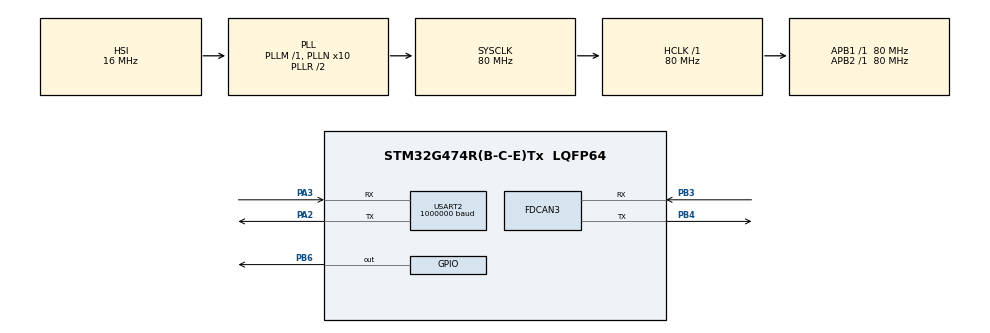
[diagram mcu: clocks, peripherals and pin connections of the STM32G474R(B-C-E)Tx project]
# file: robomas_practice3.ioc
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FDCAN3.CalculateBaudRateNominal=1000000
FDCAN3.CalculateTimeBitNominal=1000
FDCAN3.CalculateTimeQuantumNominal=50.0
FDCAN3.NominalPrescaler=4
FDCAN3.NominalTimeSeg1=15
FDCAN3.NominalTimeSeg2=4
FDCAN3.StdFiltersNbr=1
Mcu.Family=STM32G4
Mcu.Name=STM32G474R(B-C-E)Tx
Mcu.Package=LQFP64
NVIC.FDCAN3_IT0_IRQn=true\:0\:0\:false\:false\:true\:true\:true\:true
NVIC.FDCAN3_IT1_IRQn=true\:0\:0\:false\:false\:true\:true\:true\:true
NVIC.PriorityGroup=NVIC_PRIORITYGROUP_4
NVIC.TIM6_DAC_IRQn=true\:0\:0\:false\:false\:true\:true\:true\:true
NVIC.USART2_IRQn=true\:0\:0\:false\:false\:true\:true\:true\:true
PA2.Mode=Asynchronous
PA2.Signal=USART2_TX
PA3.Mode=Asynchronous
PA3.Signal=USART2_RX
PB3.Mode=FDCAN_Activate
PB3.Signal=FDCAN3_RX
PB4.Mode=FDCAN_Activate
PB4.Signal=FDCAN3_TX
PB6.Signal=GPIO_Output
ProjectManager.HeapSize=0x200
ProjectManager.StackSize=0x400
ProjectManager.TargetToolchain=STM32CubeIDE
RCC.ADC12Freq_Value=80000000
RCC.ADC345Freq_Value=80000000
RCC.AHBFreq_Value=80000000
RCC.APB1Freq_Value=80000000
RCC.APB1TimFreq_Value=80000000
RCC.APB2Freq_Value=80000000
RCC.APB2TimFreq_Value=80000000
RCC.CortexFreq_Value=80000000
RCC.EXTERNAL_CLOCK_VALUE=12288000
RCC.HCLKFreq_Value=80000000
RCC.HSE_VALUE=8000000
RCC.HSI48_VALUE=48000000
RCC.HSI_VALUE=16000000
RCC.LSE_VALUE=32768
RCC.PLLN=10
RCC.SYSCLKFreq_VALUE=80000000
RCC.SYSCLKSource=RCC_SYSCLKSOURCE_PLLCLK
RCC.USBFreq_Value=80000000
RCC.VCOOutputFreq_Value=160000000
TIM6.PeriodNoDither=7999
TIM6.Prescaler=9
USART2.BaudRate=1000000
USART2.VirtualMode-Asynchronous=VM_ASYNC
VP_SYS_VS_DBSignals.Mode=DisableDeadBatterySignals
VP_TIM6_VS_ClockSourceINT.Mode=Enable_Timer
board=custom

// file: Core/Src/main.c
/* USER CODE BEGIN Header */
/**
  ******************************************************************************
  * @file           : main.c
  * @brief          : Main program body
  ******************************************************************************
  * @attention
  *
  * Copyright (c) 2024 STMicroelectronics.
  * All rights reserved.
  *
  * This software is licensed under terms that can be found in the LICENSE file
  * in the root directory of this software component.
  * If no LICENSE file comes with this software, it is provided AS-IS.
  *
  ******************************************************************************
  */
/* USER CODE END Header */
#include "main.h"

/* USER CODE BEGIN Includes */
#include <stdio.h>
/* USER CODE END Includes */

/* USER CODE BEGIN PD */

#define motor_ID 1

/* USER CODE END PD */

FDCAN_HandleTypeDef hfdcan3;

TIM_HandleTypeDef htim6;

UART_HandleTypeDef huart2;

/* USER CODE BEGIN PV */
FDCAN_TxHeaderTypeDef TxHeader;
FDCAN_RxHeaderTypeDef RxHeader;
FDCAN_FilterTypeDef sFilterConfig;

uint8_t TxData[8] = {};
uint8_t RxData[8] = {};
uint32_t TxMailbox;

typedef struct{
	uint16_t CANID;
	uint8_t motorID;
	//int8_t rotDir;//rotation direction
	int16_t trgVel;//target angle velocity [RPM]
	volatile int16_t actVel;//actual angle velocity [RPM]
	volatile int16_t p_actVel;
	volatile int16_t cu;//output
	//double angle;//[rad]
	//double reductionRatio; //@param reduction ratio (1:param)
	int16_t actCurrent;//actual torque current
}motor;

motor robomas[] = {{0x203, 3, -64*36, 0, 0, 0, 0}};

//volatile uint16_t angle = 0;
//volatile int16_t current = 0;
//volatile int16_t rpm = 0;
//volatile int16_t cu =0;
//volatile float ac_l =0 , purpose = 64, p_rpm = 0, d = 0, p_x = 1, sa_angle = 0, p_angle = 0;
volatile float k_p = 7, k_i = 0.5, k_d = 0.0001, ind = 0;

/* USER CODE END PV */

void SystemClock_Config(void);
static void MX_GPIO_Init(void);
static void MX_USART2_UART_Init(void);
static void MX_FDCAN3_Init(void);
static void MX_TIM6_Init(void);

/* USER CODE BEGIN 0 */
void HAL_TIM_PeriodElapsedCallback(TIM_HandleTypeDef *htim){
	float hensa = robomas[0].trgVel - robomas[0].actVel;
	//printf("hensa:%d, act:%d", (int)hensa, (int)robomas[0].actVel);
	if (hensa >= 1000) hensa = 1000;
	else if (hensa <= -1000) hensa = -1000;

	float d = (robomas[0].actVel - robomas[0].p_actVel) / 0.001;
	ind += hensa*0.1;
	if (d >= 30000) d = 30000;
	else if (d <= -30000) d = -30000;
	if (ind >= 10000) ind = 10000;
	else if (ind <= -10000) ind = -10000;

	float t = k_p*hensa;
	if (t>=10000) t = 10000;
	else if (t<=-10000) t = -10000;
	robomas[0].cu = (int16_t)(t+k_i*ind+k_d*d);
	if (robomas[0].cu <= -10000) robomas[0].cu = -10000;
	else if (robomas[0].cu >= 10000) robomas[0].cu = 10000;

	TxData[4] = (robomas[0].cu) >> 8;
	TxData[5] = (uint8_t)((robomas[0].cu) & 0xff);
	if (HAL_FDCAN_AddMessageToTxFifoQ(&hfdcan3, &TxHeader, TxData) != HAL_OK){
		Error_Handler();
	}
	robomas[0].p_actVel = robomas[0].actVel;
	//printf("%d\r\n", robomas[0].cu);
	//printf("hensa:%d,cu:%d,rpm:%d,ind:%d,d:%d\r\n", (int)hensa, robomas[0].cu, robomas[0].actVel, (int)ind, (int)d);

}

void HAL_FDCAN_RxFifo0Callback(FDCAN_HandleTypeDef *hfdcan, uint32_t RxFifo0ITs){
	if ((RxFifo0ITs & FDCAN_IT_RX_FIFO0_NEW_MESSAGE) != RESET) {

	        /* Retrieve Rx messages from RX FIFO0 */
		if (HAL_FDCAN_GetRxMessage(&hfdcan3, FDCAN_RX_FIFO0, &RxHeader, RxData) != HAL_OK) {
			printf("fdcan_getrxmessage is error\r\n");
			Error_Handler();
		}

		if (RxHeader.Identifier == (robomas[0].CANID)) {
			robomas[0].actVel = (int16_t)((RxData[2] << 8) | RxData[3]);
			//printf("%d\r\n", robomas[0].actVel);
		}
	}

}

int _write(int file, char *ptr, int len)
{
    HAL_UART_Transmit(&huart2,(uint8_t *)ptr,len,10);
    return len;
}
/* USER CODE END 0 */

int main(void)
{

  /* USER CODE BEGIN 1 */
	setbuf(stdout, NULL);
  /* USER CODE END 1 */

  /* MCU Configuration--------------------------------------------------------*/

  /* Reset of all peripherals, Initializes the Flash interface and the Systick. */
  HAL_Init();

  /* Configure the system clock */
  SystemClock_Config();

  /* Initialize all configured peripherals */
  MX_GPIO_Init();
  MX_USART2_UART_Init();
  MX_FDCAN3_Init();
  MX_TIM6_Init();
  /* USER CODE BEGIN 2 */
  printf("start");
  TxHeader.Identifier = 0x000;
  TxHeader.IdType = FDCAN_STANDARD_ID;
  TxHeader.TxFrameType = FDCAN_DATA_FRAME;
  TxHeader.DataLength = FDCAN_DLC_BYTES_8;
  TxHeader.ErrorStateIndicator = FDCAN_ESI_ACTIVE;
  TxHeader.BitRateSwitch = FDCAN_BRS_OFF;
  TxHeader.FDFormat = FDCAN_CLASSIC_CAN;
  TxHeader.TxEventFifoControl = FDCAN_NO_TX_EVENTS;
  TxHeader.MessageMarker = 0;

  FDCAN_FilterTypeDef sFilterConfig;
  sFilterConfig.IdType = FDCAN_STANDARD_ID;
  sFilterConfig.FilterIndex = 0;
  sFilterConfig.FilterType = FDCAN_FILTER_RANGE;
  sFilterConfig.FilterConfig = FDCAN_FILTER_TO_RXFIFO0;
  sFilterConfig.FilterID1 = 0x200;
  sFilterConfig.FilterID2 = 0x209;

  if (HAL_FDCAN_ConfigFilter(&hfdcan3, &sFilterConfig) != HAL_OK) {
	  printf("fdcan_configfilter is error\r\n");
      Error_Handler();
  }

  if (HAL_FDCAN_ConfigGlobalFilter(&hfdcan3, FDCAN_REJECT, FDCAN_REJECT, FDCAN_FILTER_REMOTE, FDCAN_FILTER_REMOTE) != HAL_OK) {
	  printf("fdcan_configglobalfilter is error\r\n");
      Error_Handler();
  }

  if (HAL_FDCAN_Start(&hfdcan3) != HAL_OK) {
	  printf("fdcan_start is error\r\n");
      Error_Handler();
  }

  if (HAL_FDCAN_ActivateNotification(&hfdcan3, FDCAN_IT_RX_FIFO0_NEW_MESSAGE, 0) != HAL_OK){
	  printf("fdcan_activatenotification is error\r\n");
	  Error_Handler();
  }

  printf("can_start");

  HAL_TIM_Base_Start_IT(&htim6);
  /* USER CODE END 2 */

  /* Infinite loop */
  /* USER CODE BEGIN WHILE */
   TxHeader.Identifier = 0x200;

  while (1)
  {
	  //if (cu_f >= 2000) cu = 2000;
	  //else if (cu_f <= -2000) cu = -2000;
	  //else cu = cu_f;

		printf("rpm:%d, cu:%d, 0:%d, 10000:%d\r\n", robomas[0].actVel, robomas[0].cu, 0, 10000);

	  //HAL_Delay(1);
    /* USER CODE END WHILE */

  }
}

void SystemClock_Config(void)
{
  RCC_OscInitTypeDef RCC_OscInitStruct = {0};
  RCC_ClkInitTypeDef RCC_ClkInitStruct = {0};

  /** Configure the main internal regulator output voltage
  */
  HAL_PWREx_ControlVoltageScaling(PWR_REGULATOR_VOLTAGE_SCALE1);

  /** Initializes the RCC Oscillators according to the specified parameters
  * in the RCC_OscInitTypeDef structure.
  */
  RCC_OscInitStruct.OscillatorType = RCC_OSCILLATORTYPE_HSI;
  RCC_OscInitStruct.HSIState = RCC_HSI_ON;
  RCC_OscInitStruct.HSICalibrationValue = RCC_HSICALIBRATION_DEFAULT;
  RCC_OscInitStruct.PLL.PLLState = RCC_PLL_ON;
  RCC_OscInitStruct.PLL.PLLSource = RCC_PLLSOURCE_HSI;
  RCC_OscInitStruct.PLL.PLLM = RCC_PLLM_DIV1;
  RCC_OscInitStruct.PLL.PLLN = 10;
  RCC_OscInitStruct.PLL.PLLP = RCC_PLLP_DIV2;
  RCC_OscInitStruct.PLL.PLLQ = RCC_PLLQ_DIV2;
  RCC_OscInitStruct.PLL.PLLR = RCC_PLLR_DIV2;
  if (HAL_RCC_OscConfig(&RCC_OscInitStruct) != HAL_OK)
  {
    Error_Handler();
  }

  /** Initializes the CPU, AHB and APB buses clocks
  */
  RCC_ClkInitStruct.ClockType = RCC_CLOCKTYPE_HCLK|RCC_CLOCKTYPE_SYSCLK
                              |RCC_CLOCKTYPE_PCLK1|RCC_CLOCKTYPE_PCLK2;
  RCC_ClkInitStruct.SYSCLKSource = RCC_SYSCLKSOURCE_PLLCLK;
  RCC_ClkInitStruct.AHBCLKDivider = RCC_SYSCLK_DIV1;
  RCC_ClkInitStruct.APB1CLKDivider = RCC_HCLK_DIV1;
  RCC_ClkInitStruct.APB2CLKDivider = RCC_HCLK_DIV1;

  if (HAL_RCC_ClockConfig(&RCC_ClkInitStruct, FLASH_LATENCY_2) != HAL_OK)
  {
    Error_Handler();
  }
}

static void MX_FDCAN3_Init(void)
{

  hfdcan3.Instance = FDCAN3;
  hfdcan3.Init.ClockDivider = FDCAN_CLOCK_DIV1;
  hfdcan3.Init.FrameFormat = FDCAN_FRAME_CLASSIC;
  hfdcan3.Init.Mode = FDCAN_MODE_NORMAL;
  hfdcan3.Init.AutoRetransmission = DISABLE;
  hfdcan3.Init.TransmitPause = DISABLE;
  hfdcan3.Init.ProtocolException = DISABLE;
  hfdcan3.Init.NominalPrescaler = 4;
  hfdcan3.Init.NominalSyncJumpWidth = 1;
  hfdcan3.Init.NominalTimeSeg1 = 15;
  hfdcan3.Init.NominalTimeSeg2 = 4;
  hfdcan3.Init.DataPrescaler = 1;
  hfdcan3.Init.DataSyncJumpWidth = 1;
  hfdcan3.Init.DataTimeSeg1 = 1;
  hfdcan3.Init.DataTimeSeg2 = 1;
  hfdcan3.Init.StdFiltersNbr = 1;
  hfdcan3.Init.ExtFiltersNbr = 0;
  hfdcan3.Init.TxFifoQueueMode = FDCAN_TX_FIFO_OPERATION;
  if (HAL_FDCAN_Init(&hfdcan3) != HAL_OK)
  {
    Error_Handler();
  }

}

static void MX_TIM6_Init(void)
{

  TIM_MasterConfigTypeDef sMasterConfig = {0};

  htim6.Instance = TIM6;
  htim6.Init.Prescaler = 9;
  htim6.Init.CounterMode = TIM_COUNTERMODE_UP;
  htim6.Init.Period = 7999;
  htim6.Init.AutoReloadPreload = TIM_AUTORELOAD_PRELOAD_DISABLE;
  if (HAL_TIM_Base_Init(&htim6) != HAL_OK)
  {
    Error_Handler();
  }
  sMasterConfig.MasterOutputTrigger = TIM_TRGO_RESET;
  sMasterConfig.MasterSlaveMode = TIM_MASTERSLAVEMODE_DISABLE;
  if (HAL_TIMEx_MasterConfigSynchronization(&htim6, &sMasterConfig) != HAL_OK)
  {
    Error_Handler();
  }

}

static void MX_USART2_UART_Init(void)
{

  huart2.Instance = USART2;
  huart2.Init.BaudRate = 1000000;
  huart2.Init.WordLength = UART_WORDLENGTH_8B;
  huart2.Init.StopBits = UART_STOPBITS_1;
  huart2.Init.Parity = UART_PARITY_NONE;
  huart2.Init.Mode = UART_MODE_TX_RX;
  huart2.Init.HwFlowCtl = UART_HWCONTROL_NONE;
  huart2.Init.OverSampling = UART_OVERSAMPLING_16;
  huart2.Init.OneBitSampling = UART_ONE_BIT_SAMPLE_DISABLE;
  huart2.Init.ClockPrescaler = UART_PRESCALER_DIV1;
  huart2.AdvancedInit.AdvFeatureInit = UART_ADVFEATURE_NO_INIT;
  if (HAL_UART_Init(&huart2) != HAL_OK)
  {
    Error_Handler();
  }
  if (HAL_UARTEx_SetTxFifoThreshold(&huart2, UART_TXFIFO_THRESHOLD_1_8) != HAL_OK)
  {
    Error_Handler();
  }
  if (HAL_UARTEx_SetRxFifoThreshold(&huart2, UART_RXFIFO_THRESHOLD_1_8) != HAL_OK)
  {
    Error_Handler();
  }
  if (HAL_UARTEx_DisableFifoMode(&huart2) != HAL_OK)
  {
    Error_Handler();
  }

}

static void MX_GPIO_Init(void)
{
  GPIO_InitTypeDef GPIO_InitStruct = {0};

  /* GPIO Ports Clock Enable */
  __HAL_RCC_GPIOA_CLK_ENABLE();
  __HAL_RCC_GPIOB_CLK_ENABLE();

  /*Configure GPIO pin Output Level */
  HAL_GPIO_WritePin(GPIOB, GPIO_PIN_6, GPIO_PIN_RESET);

  /*Configure GPIO pin : PB6 */
  GPIO_InitStruct.Pin = GPIO_PIN_6;
  GPIO_InitStruct.Mode = GPIO_MODE_OUTPUT_PP;
  GPIO_InitStruct.Pull = GPIO_NOPULL;
  GPIO_InitStruct.Speed = GPIO_SPEED_FREQ_LOW;
  HAL_GPIO_Init(GPIOB, &GPIO_InitStruct);

}

void Error_Handler(void)
{
  /* USER CODE BEGIN Error_Handler_Debug */
	printf("error\r\n");
  /* User can add his own implementation to report the HAL error return state */
  __disable_irq();
  while (1)
  {
  }
  /* USER CODE END Error_Handler_Debug */
}
